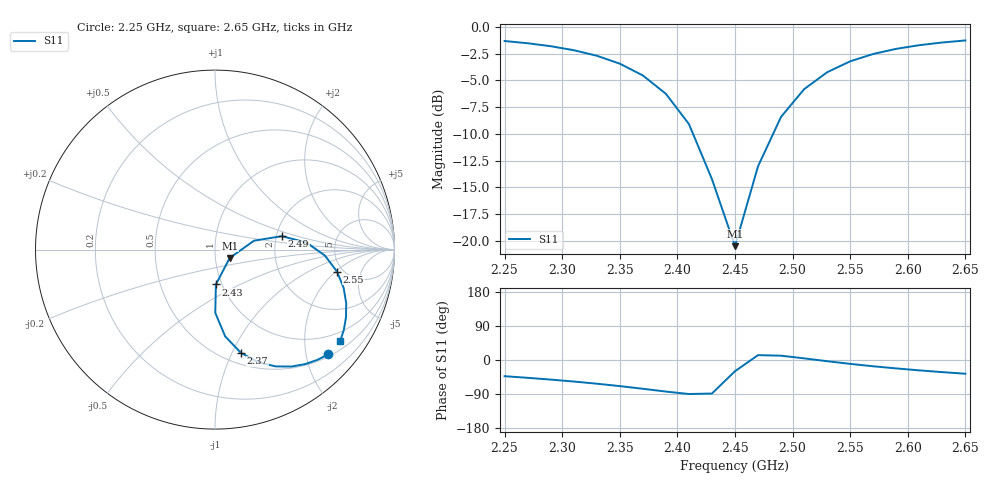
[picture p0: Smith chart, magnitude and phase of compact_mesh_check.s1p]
# Hz S RI R 50
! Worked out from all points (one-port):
!   21 points, 2.25 GHz to 2.65 GHz, reference 50 ohm
!   lowest |S11| = -20.5 dB at 2.45 GHz (marker M1), VSWR 1.21, Z = 58.7 - j5.51 ohm
!   |S11| at or under -10 dB: 2.414 GHz to 2.483 GHz (69.55 MHz wide, 2.84 % of centre)
!   S11 on the Smith chart (normalised r, x): 2.25 GHz: 0.55, -2.45; 2.37 GHz: 0.61, -1.08; 2.43 GHz: 0.94, -0.38; 2.49 GHz: 2.14, +0.37; 2.55 GHz: 4.45, -2.08; 2.65 GHz: 0.71, -2.90
2.25e9  0.6314 -0.5831
2.27e9  0.5721 -0.6136
2.29e9  0.504 -0.6376
2.31e9  0.4261 -0.6516
2.33e9  0.3384 -0.6508
2.35e9  0.2426 -0.6282
2.37e9  0.1444 -0.5752
2.39e9  0.0567 -0.4835
2.41e9  0.00146 -0.3515
2.43e9  0.00508 -0.194
2.45e9  0.082 -0.0466
2.47e9  0.2175 0.0496
2.49e9  0.3724 0.0748
2.51e9  0.5102 0.039
2.53e9  0.6131 -0.0339
2.55e9  0.6798 -0.1224
2.57e9  0.7166 -0.2131
2.59e9  0.7312 -0.299
2.61e9  0.7299 -0.3776
2.63e9  0.7174 -0.4483
2.65e9  0.6972 -0.5113
